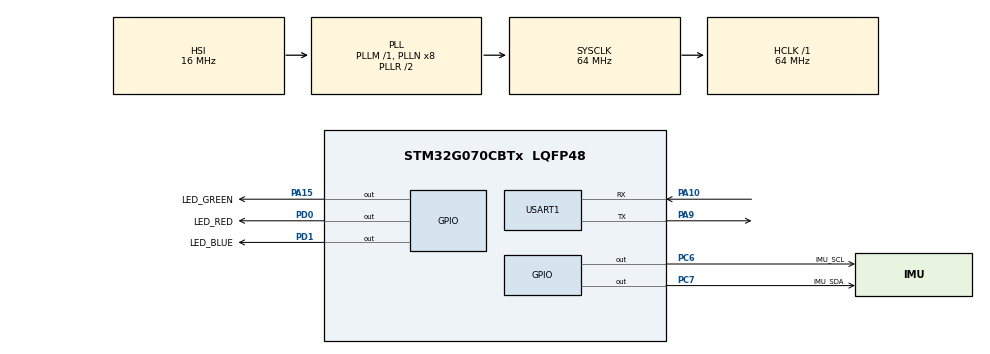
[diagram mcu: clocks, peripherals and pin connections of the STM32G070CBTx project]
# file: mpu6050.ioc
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Mcu.Family=STM32G0
Mcu.Name=STM32G070CBTx
Mcu.Package=LQFP48
PA10.Mode=Asynchronous
PA10.Signal=USART1_RX
PA13.Mode=Serial_Wire
PA13.Signal=SYS_SWDIO
PA14-BOOT0.Mode=Serial_Wire
PA14-BOOT0.Signal=SYS_SWCLK
PA15.GPIO_Label=LED_GREEN
PA15.PinState=GPIO_PIN_SET
PA15.Signal=GPIO_Output
PA9.Mode=Asynchronous
PA9.Signal=USART1_TX
PC6.GPIO_Label=IMU_SCL
PC6.GPIO_PuPd=GPIO_PULLUP
PC6.GPIO_Speed=GPIO_SPEED_FREQ_VERY_HIGH
PC6.Signal=GPIO_Output
PC7.GPIO_Label=IMU_SDA
PC7.GPIO_PuPd=GPIO_PULLUP
PC7.GPIO_Speed=GPIO_SPEED_FREQ_VERY_HIGH
PC7.Signal=GPIO_Output
PD0.GPIO_Label=LED_RED
PD0.PinState=GPIO_PIN_SET
PD0.Signal=GPIO_Output
PD1.GPIO_Label=LED_BLUE
PD1.PinState=GPIO_PIN_SET
PD1.Signal=GPIO_Output
ProjectManager.HeapSize=0x200
ProjectManager.StackSize=0x400
ProjectManager.TargetToolchain=MDK-ARM V5
RCC.ADCFreq_Value=64000000
RCC.AHBFreq_Value=64000000
RCC.CortexFreq_Value=64000000
RCC.EXTERNAL_CLOCK_VALUE=48000
RCC.HCLKFreq_Value=64000000
RCC.HSE_VALUE=8000000
RCC.HSI_VALUE=16000000
RCC.LSE_VALUE=32768
RCC.SYSCLKFreq_VALUE=64000000
RCC.SYSCLKSource=RCC_SYSCLKSOURCE_PLLCLK
RCC.VCOOutputFreq_Value=128000000
RealThread.RT-Thread.3.1.5.RTOSJjdevice=true
RealThread.RT-Thread.3.1.5.RTOSJjkernel=true
RealThread.RT-Thread.3.1.5.RTOSJjshell=true
USART1.VirtualMode-Asynchronous=VM_ASYNC
VP_SYS_VS_DBSignals.Mode=DisableDeadBatterySignals
board=custom

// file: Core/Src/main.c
/* USER CODE BEGIN Header */
/**
  ******************************************************************************
  * @file           : main.c
  * @brief          : Main program body
  ******************************************************************************
  * @attention
  *
  * <h2><center>&copy; Copyright (c) 2022 STMicroelectronics.
  * All rights reserved.</center></h2>
  *
  * This software component is licensed by ST under Ultimate Liberty license
  * SLA0044, the "License"; You may not use this file except in compliance with
  * the License. You may obtain a copy of the License at:
  *                             www.st.com/SLA0044
  *
  ******************************************************************************
  */
/* USER CODE END Header */
#include "main.h"
#include "usart.h"
#include "gpio.h"

/* USER CODE BEGIN Includes */
#include "bsp_led.h"
#include "bsp_mpu6050.h"
#include "bsp_usart.h"
#include "bsp_time.h"

/* USER CODE END Includes */

void SystemClock_Config(void);

int main(void)
{

  /* MCU Configuration--------------------------------------------------------*/

  /* Reset of all peripherals, Initializes the Flash interface and the Systick. */
  HAL_Init();

  /* Configure the system clock */
  SystemClock_Config();

  /* Initialize all configured peripherals */
  MX_GPIO_Init();
  MX_USART1_UART_Init();
  /* USER CODE BEGIN 2 */
    BSP_LED_Init();
    BSP_Time_Init();
    BSP_UART_Init();
    BSP_MPU6050_Init();
  /* USER CODE END 2 */

  /* Infinite loop */
  /* USER CODE BEGIN WHILE */
  while (1)
  {
    if(BSP_Time_CheckTick()==1)
    {
        if(BSP_Time_CheckSlice(500)==1)
        {
            BSP_LED_Toggle(GREEN);
        }
        if(BSP_Time_CheckSlice(5)==1)
        {

            BSP_MPU6050_UpdateData();
        }
        if(BSP_Time_CheckSlice(5)==1)
        {
            MPU6050 *mpu6050 = BSP_MPU6050_GetData();
            // printf("datas:%f,%f,%f \n\r",mpu6050->pitch, mpu6050->roll, mpu6050->yaw); for vofa display
            printf("pitch: %.2f roll: %.2f yaw: %.2f\n\r",mpu6050->pitch, mpu6050->roll,  mpu6050->yaw);
            printf("gx: %d gy: %d gz: %d\n\r",mpu6050->gx, mpu6050->gy, mpu6050->gz);
            printf("ax: %d ay: %d az: %d\n\r",mpu6050->ax,  mpu6050->ay,  mpu6050->az);

        }
    }
    /* USER CODE END WHILE */

  }
}

void SystemClock_Config(void)
{
  RCC_OscInitTypeDef RCC_OscInitStruct = {0};
  RCC_ClkInitTypeDef RCC_ClkInitStruct = {0};
  RCC_PeriphCLKInitTypeDef PeriphClkInit = {0};

  /** Configure the main internal regulator output voltage
  */
  HAL_PWREx_ControlVoltageScaling(PWR_REGULATOR_VOLTAGE_SCALE1);
  /** Initializes the RCC Oscillators according to the specified parameters
  * in the RCC_OscInitTypeDef structure.
  */
  RCC_OscInitStruct.OscillatorType = RCC_OSCILLATORTYPE_HSI;
  RCC_OscInitStruct.HSIState = RCC_HSI_ON;
  RCC_OscInitStruct.HSIDiv = RCC_HSI_DIV1;
  RCC_OscInitStruct.HSICalibrationValue = RCC_HSICALIBRATION_DEFAULT;
  RCC_OscInitStruct.PLL.PLLState = RCC_PLL_ON;
  RCC_OscInitStruct.PLL.PLLSource = RCC_PLLSOURCE_HSI;
  RCC_OscInitStruct.PLL.PLLM = RCC_PLLM_DIV1;
  RCC_OscInitStruct.PLL.PLLN = 8;
  RCC_OscInitStruct.PLL.PLLP = RCC_PLLP_DIV2;
  RCC_OscInitStruct.PLL.PLLR = RCC_PLLR_DIV2;
  if (HAL_RCC_OscConfig(&RCC_OscInitStruct) != HAL_OK)
  {
    Error_Handler();
  }
  /** Initializes the CPU, AHB and APB buses clocks
  */
  RCC_ClkInitStruct.ClockType = RCC_CLOCKTYPE_HCLK|RCC_CLOCKTYPE_SYSCLK
                              |RCC_CLOCKTYPE_PCLK1;
  RCC_ClkInitStruct.SYSCLKSource = RCC_SYSCLKSOURCE_PLLCLK;
  RCC_ClkInitStruct.AHBCLKDivider = RCC_SYSCLK_DIV1;
  RCC_ClkInitStruct.APB1CLKDivider = RCC_HCLK_DIV1;

  if (HAL_RCC_ClockConfig(&RCC_ClkInitStruct, FLASH_LATENCY_2) != HAL_OK)
  {
    Error_Handler();
  }
  /** Initializes the peripherals clocks
  */
  PeriphClkInit.PeriphClockSelection = RCC_PERIPHCLK_USART1;
  PeriphClkInit.Usart1ClockSelection = RCC_USART1CLKSOURCE_PCLK1;
  if (HAL_RCCEx_PeriphCLKConfig(&PeriphClkInit) != HAL_OK)
  {
    Error_Handler();
  }
}

void Error_Handler(void)
{
  __disable_irq();
  while (1)
  {
  }
}

/************************ (C) COPYRIGHT STMicroelectronics *****END OF FILE****/
